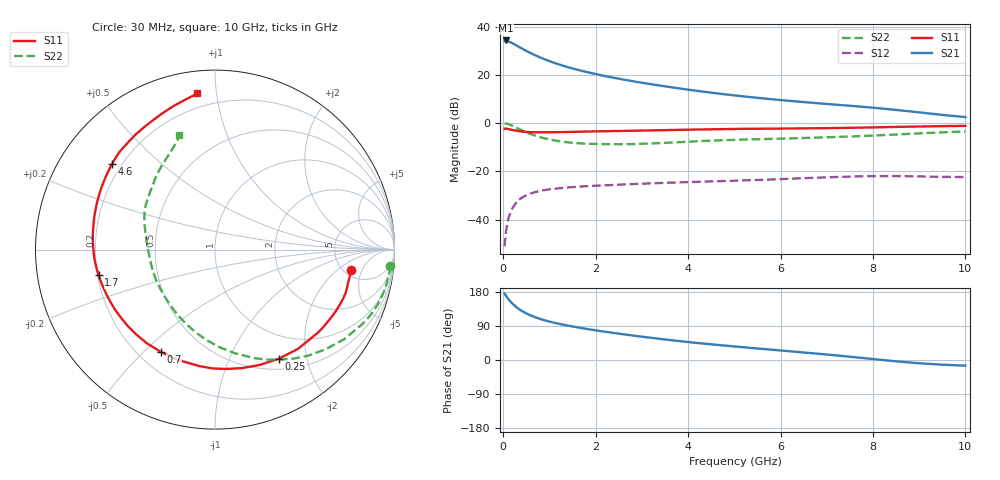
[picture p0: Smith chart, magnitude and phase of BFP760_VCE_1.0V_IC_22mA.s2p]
! Infineon Technologies  Discrete & RF Semiconductors
! BFP760
! VCE =  1.0 V,  IC =  22 mA
! Common Emitter S-Parameters:  Nov 2012
# GHz  S  MA  R  50
!  f  S11  S21  S12  S22
! GHz  MAG  ANG  MAG  ANG  MAG  ANG  MAG  ANG
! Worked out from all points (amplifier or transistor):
!   99 points, 30 MHz to 10 GHz, reference 50 ohm
!   highest |S21| = 34.3 dB at 50 MHz (marker M1)
!   |S21| within 3 dB of that: start of sweep to 370.8 MHz
!   unconditionally stable (mu >= 1): 4.514 GHz to end of sweep
!   at 350 MHz: K = 0.22, MSG = 31.6 dB, |S12| = -31.7 dB
!   at 3.5 GHz: K = 0.89, MSG = 20.0 dB, |S12| = -24.8 dB
!   at 10 GHz: K = 1.15, MAG = 10.1 dB, |S12| = -22.4 dB
!   S11 on the Smith chart (normalised r, x): 30 MHz: 5.73, -3.10; 250 MHz: 0.64, -1.55; 700 MHz: 0.29, -0.57; 1.7 GHz: 0.20, -0.10; 4.6 GHz: 0.16, +0.35; 10 GHz: 0.12, +0.88
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0.03  0.7634 -8.5  50.41 175.2  0.0028 84.6  0.9818 -5.3
0.04  0.7658 -11.2  50.86 173.6  0.0039 85.4  0.9806 -7.2
0.05  0.764 -13.8  51.72 171.1  0.0041 87.3  0.9766 -9.1
0.09  0.7599 -24.1  50.7 164.3  0.0082 76.9  0.9623 -16.5
0.15  0.7365 -39.0  47.84 155.2  0.0133 72.7  0.9183 -27.1
0.2  0.7211 -50.0  45.24 148.7  0.0172 67.0  0.8751 -34.9
0.25  0.7045 -59.6  42.72 143.1  0.0203 62.9  0.8296 -42.0
0.35  0.6773 -77.1  37.5 133.5  0.026 56.2  0.7469 -54.5
0.45  0.6624 -91.1  33.27 126.1  0.0301 50.5  0.6762 -65.1
0.6  0.6483 -108.4  28.07 117.4  0.0348 44.2  0.59 -78.8
0.7  0.6452 -117.8  25.28 112.5  0.0373 40.6  0.5472 -86.8
0.9  0.6449 -132.7  20.98 104.7  0.0409 35.8  0.4812 -101.1
1.1  0.6471 -144.3  17.81 98.4  0.0433 32.3  0.4375 -113.2
1.4  0.6544 -157.3  14.45 90.7  0.0462 29.0  0.3991 -128.1
1.7  0.6636 -167.5  12.13 84.2  0.0483 26.8  0.3777 -140.7
2.4  0.6836 174.8  8.674 71.2  0.0522 23.6  0.3654 -163.7
3.4  0.711 156.2  5.98 55.6  0.0571 21.2  0.3853 172.3
4.6  0.7462 140.2  4.161 40.2  0.0621 19.1  0.4355 154.6
5.1  0.7575 135.8  3.665 34.7  0.0643 18.3  0.4523 149.6
6.7  0.7809 123.7  2.63 17.7  0.0732 14.9  0.4967 134.8
8.5  0.8331 106.0  1.877 -3.5  0.0795 5.3  0.5795 117.4
10  0.8763 96.6  1.33 -14.9  0.076 1.8  0.67 107.6
